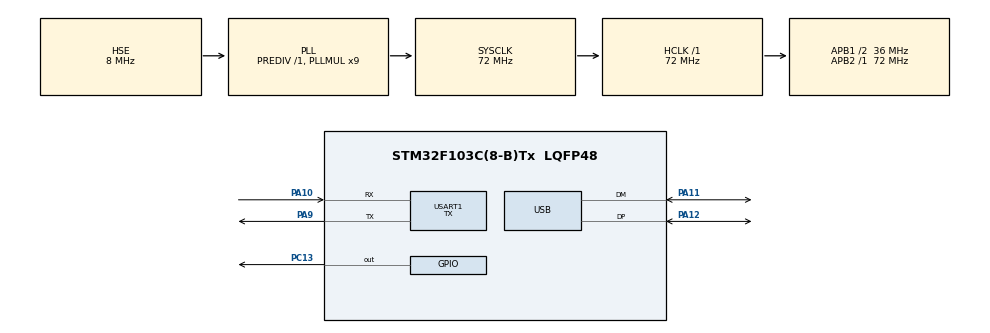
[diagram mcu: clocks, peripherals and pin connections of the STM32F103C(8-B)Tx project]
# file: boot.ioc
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Mcu.Family=STM32F1
Mcu.Name=STM32F103C(8-B)Tx
Mcu.Package=LQFP48
NVIC.PriorityGroup=NVIC_PRIORITYGROUP_4
NVIC.USART1_IRQn=true\:0\:0\:false\:false\:true\:true\:true\:true
NVIC.USB_LP_CAN1_RX0_IRQn=true\:0\:0\:false\:false\:true\:false\:true\:true
PA10.Mode=Asynchronous
PA10.Signal=USART1_RX
PA11.Mode=Device
PA11.Signal=USB_DM
PA12.Mode=Device
PA12.Signal=USB_DP
PA9.Mode=Asynchronous
PA9.Signal=USART1_TX
PC13-TAMPER-RTC.Signal=GPIO_Output
PD0-OSC_IN.Mode=HSE-External-Oscillator
PD0-OSC_IN.Signal=RCC_OSC_IN
PD1-OSC_OUT.Mode=HSE-External-Oscillator
PD1-OSC_OUT.Signal=RCC_OSC_OUT
ProjectManager.HeapSize=0x200
ProjectManager.StackSize=0x400
ProjectManager.TargetToolchain=MDK-ARM V5.32
RCC.AHBFreq_Value=72000000
RCC.APB1CLKDivider=RCC_HCLK_DIV2
RCC.APB1Freq_Value=36000000
RCC.APB1TimFreq_Value=72000000
RCC.APB2Freq_Value=72000000
RCC.APB2TimFreq_Value=72000000
RCC.HCLKFreq_Value=72000000
RCC.PLLMUL=RCC_PLL_MUL9
RCC.SYSCLKFreq_VALUE=72000000
RCC.SYSCLKSource=RCC_SYSCLKSOURCE_PLLCLK
RCC.USBFreq_Value=48000000
RCC.USBPrescaler=RCC_USBCLKSOURCE_PLL_DIV1_5
USART1.Mode=MODE_TX
USART1.VirtualMode=VM_ASYNC
USB.low_power_enable=DISABLE
USB.lpm_enable=DISABLE
USB_DEVICE.APP_RX_DATA_SIZE=64
USB_DEVICE.APP_TX_DATA_SIZE=64
USB_DEVICE.CLASS_NAME_FS=CDC
USB_DEVICE.MANUFACTURER_STRING=Lyj
USB_DEVICE.PID_CDC_FS=22222
USB_DEVICE.PRODUCT_STRING_CDC_FS=FreePad Boot
USB_DEVICE.USBD_MAX_STR_DESC_SIZ=512
USB_DEVICE.USBD_SELF_POWERED=0
USB_DEVICE.VID=1155
USB_DEVICE.VirtualMode=Cdc
USB_DEVICE.VirtualModeFS=Cdc_FS
VP_SYS_VS_ND.Mode=No_Debug
VP_USB_DEVICE_VS_USB_DEVICE_CDC_FS.Mode=CDC_FS
board=custom

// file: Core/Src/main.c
/* USER CODE BEGIN Header */
/**
 ******************************************************************************
 * @file           : main.c
 * @brief          : Main program body
 ******************************************************************************
 * @attention
 *
 * Copyright (c) 2023 STMicroelectronics.
 * All rights reserved.
 *
 * This software is licensed under terms that can be found in the LICENSE file
 * in the root directory of this software component.
 * If no LICENSE file comes with this software, it is provided AS-IS.
 *
 ******************************************************************************
 */
/* USER CODE END Header */
#include "main.h"
#include "usart.h"
#include "usb_device.h"
#include "gpio.h"

/* USER CODE BEGIN Includes */
#include "systime.h"
#include "cl_log.h"
#include "dfu.h"
#include "comm.h"
#include "cl_event_system.h"
/* USER CODE END Includes */

/* USER CODE BEGIN PD */
static void UsbFakePlug(void)
{
  LL_APB2_GRP1_EnableClock(LL_APB2_GRP1_PERIPH_GPIOA);
  LL_GPIO_ResetOutputPin(GPIOA, LL_GPIO_PIN_12);

  LL_GPIO_InitTypeDef GPIO_InitStruct = {0};
  GPIO_InitStruct.Pin = LL_GPIO_PIN_12;
  GPIO_InitStruct.Mode = LL_GPIO_MODE_OUTPUT;
  GPIO_InitStruct.Speed = LL_GPIO_SPEED_FREQ_LOW;
  GPIO_InitStruct.OutputType = LL_GPIO_OUTPUT_OPENDRAIN;
  GPIO_InitStruct.Pull = LL_GPIO_PULL_UP;
  LL_GPIO_Init(GPIOA, &GPIO_InitStruct);

  LL_GPIO_ResetOutputPin(GPIOA, LL_GPIO_PIN_12);
  HAL_Delay(100);
  LL_GPIO_SetOutputPin(GPIOA, LL_GPIO_PIN_12);
}
/* USER CODE END PD */

void SystemClock_Config(void);

int main(void)
{
  /* USER CODE BEGIN 1 */
  if (!NeedDfu())
  {
    if (IsAppValid())
    {
      HAL_FLASH_Lock();
      JumpToApp();
    }
  }
  CL_EventSysInit();
  /* USER CODE END 1 */

  /* MCU Configuration--------------------------------------------------------*/

  /* Reset of all peripherals, Initializes the Flash interface and the Systick. */
  HAL_Init();

  /* Configure the system clock */
  SystemClock_Config();

  /* USER CODE BEGIN SysInit */
  UsbFakePlug();
  /* USER CODE END SysInit */

  /* Initialize all configured peripherals */
  MX_GPIO_Init();
  MX_USB_DEVICE_Init();
  MX_USART1_UART_Init();
  /* USER CODE BEGIN 2 */
  Comm_Init();
  Dfu_Init();
  /* USER CODE END 2 */

  /* Infinite loop */
  while (1)
  {

    /* USER CODE BEGIN 3 */
    Comm_Process();
    Dfu_Process();

    static uint32_t lastTime = 0;
    if (SysTimeSpan(lastTime) >= SYSTIME_SECOND(1))
    {
      lastTime = GetSysTime();
      CL_LOG_INFO("%us", lastTime / 1000);
      CL_LOG_INFO("btn: %d", LL_GPIO_IsInputPinSet(GPIOC, LL_GPIO_PIN_15));
    }
  }
  /* USER CODE END 3 */
}

void SystemClock_Config(void)
{
  RCC_OscInitTypeDef RCC_OscInitStruct = {0};
  RCC_ClkInitTypeDef RCC_ClkInitStruct = {0};
  RCC_PeriphCLKInitTypeDef PeriphClkInit = {0};

  /** Initializes the RCC Oscillators according to the specified parameters
   * in the RCC_OscInitTypeDef structure.
   */
  RCC_OscInitStruct.OscillatorType = RCC_OSCILLATORTYPE_HSE;
  RCC_OscInitStruct.HSEState = RCC_HSE_ON;
  RCC_OscInitStruct.HSEPredivValue = RCC_HSE_PREDIV_DIV1;
  RCC_OscInitStruct.HSIState = RCC_HSI_ON;
  RCC_OscInitStruct.PLL.PLLState = RCC_PLL_ON;
  RCC_OscInitStruct.PLL.PLLSource = RCC_PLLSOURCE_HSE;
  RCC_OscInitStruct.PLL.PLLMUL = RCC_PLL_MUL9;
  if (HAL_RCC_OscConfig(&RCC_OscInitStruct) != HAL_OK)
  {
    Error_Handler();
  }

  /** Initializes the CPU, AHB and APB buses clocks
   */
  RCC_ClkInitStruct.ClockType = RCC_CLOCKTYPE_HCLK | RCC_CLOCKTYPE_SYSCLK | RCC_CLOCKTYPE_PCLK1 | RCC_CLOCKTYPE_PCLK2;
  RCC_ClkInitStruct.SYSCLKSource = RCC_SYSCLKSOURCE_PLLCLK;
  RCC_ClkInitStruct.AHBCLKDivider = RCC_SYSCLK_DIV1;
  RCC_ClkInitStruct.APB1CLKDivider = RCC_HCLK_DIV2;
  RCC_ClkInitStruct.APB2CLKDivider = RCC_HCLK_DIV1;

  if (HAL_RCC_ClockConfig(&RCC_ClkInitStruct, FLASH_LATENCY_2) != HAL_OK)
  {
    Error_Handler();
  }
  PeriphClkInit.PeriphClockSelection = RCC_PERIPHCLK_USB;
  PeriphClkInit.UsbClockSelection = RCC_USBCLKSOURCE_PLL_DIV1_5;
  if (HAL_RCCEx_PeriphCLKConfig(&PeriphClkInit) != HAL_OK)
  {
    Error_Handler();
  }
}

void Error_Handler(void)
{
  __disable_irq();
  while (1)
  {
  }
}
